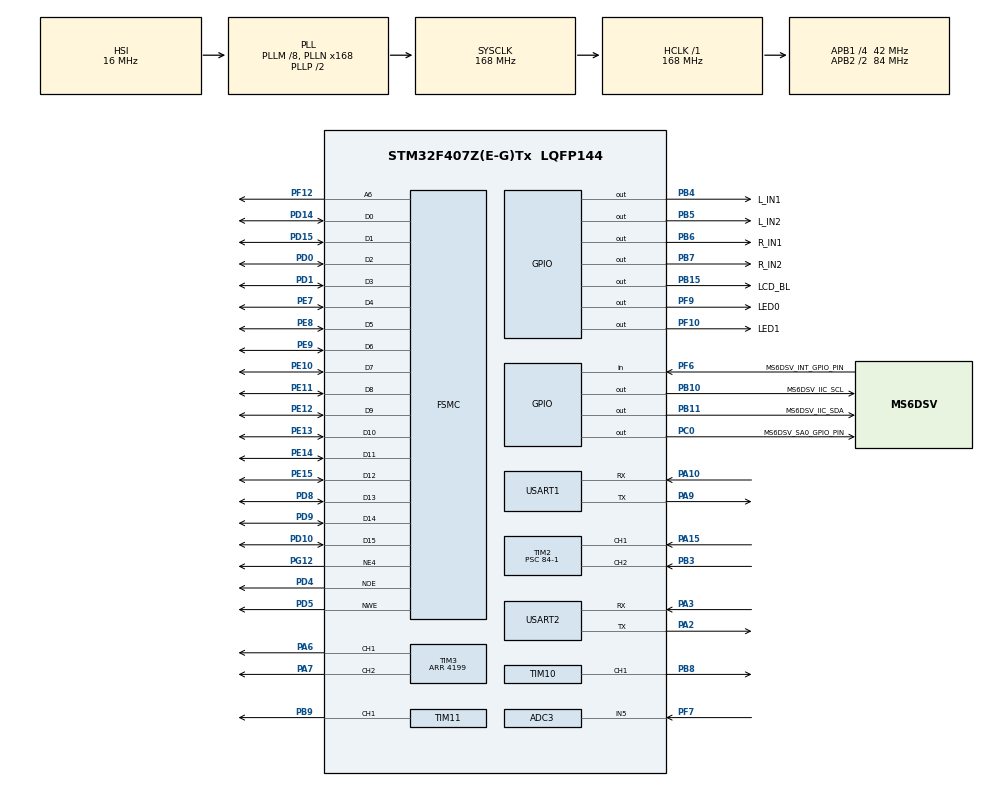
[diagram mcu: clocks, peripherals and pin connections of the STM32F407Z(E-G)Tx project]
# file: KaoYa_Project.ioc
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ADC3.Channel-0\#ChannelRegularConversion=ADC_CHANNEL_5
ADC3.DMAContinuousRequests=ENABLE
ADC3.ExternalTrigConv=ADC_EXTERNALTRIGCONV_T8_TRGO
ADC3.NbrOfConversionFlag=1
ADC3.Rank-0\#ChannelRegularConversion=1
ADC3.SamplingTime-0\#ChannelRegularConversion=ADC_SAMPLETIME_3CYCLES
Dma.ADC3.3.Direction=DMA_PERIPH_TO_MEMORY
Dma.ADC3.3.FIFOMode=DMA_FIFOMODE_DISABLE
Dma.ADC3.3.Instance=DMA2_Stream0
Dma.ADC3.3.MemDataAlignment=DMA_MDATAALIGN_HALFWORD
Dma.ADC3.3.MemInc=DMA_MINC_ENABLE
Dma.ADC3.3.Mode=DMA_CIRCULAR
Dma.ADC3.3.PeriphDataAlignment=DMA_PDATAALIGN_HALFWORD
Dma.ADC3.3.PeriphInc=DMA_PINC_DISABLE
Dma.ADC3.3.Priority=DMA_PRIORITY_LOW
Dma.Request0=USART1_RX
Dma.Request1=USART2_TX
Dma.Request2=USART1_TX
Dma.Request3=ADC3
Dma.USART1_RX.0.Direction=DMA_PERIPH_TO_MEMORY
Dma.USART1_RX.0.FIFOMode=DMA_FIFOMODE_DISABLE
Dma.USART1_RX.0.Instance=DMA2_Stream2
Dma.USART1_RX.0.MemDataAlignment=DMA_MDATAALIGN_BYTE
Dma.USART1_RX.0.MemInc=DMA_MINC_ENABLE
Dma.USART1_RX.0.Mode=DMA_CIRCULAR
Dma.USART1_RX.0.PeriphDataAlignment=DMA_PDATAALIGN_BYTE
Dma.USART1_RX.0.PeriphInc=DMA_PINC_DISABLE
Dma.USART1_RX.0.Priority=DMA_PRIORITY_LOW
Dma.USART1_TX.2.Direction=DMA_MEMORY_TO_PERIPH
Dma.USART1_TX.2.FIFOMode=DMA_FIFOMODE_DISABLE
Dma.USART1_TX.2.Instance=DMA2_Stream7
Dma.USART1_TX.2.MemDataAlignment=DMA_MDATAALIGN_BYTE
Dma.USART1_TX.2.MemInc=DMA_MINC_ENABLE
Dma.USART1_TX.2.Mode=DMA_NORMAL
Dma.USART1_TX.2.PeriphDataAlignment=DMA_PDATAALIGN_BYTE
Dma.USART1_TX.2.PeriphInc=DMA_PINC_DISABLE
Dma.USART1_TX.2.Priority=DMA_PRIORITY_LOW
Dma.USART2_TX.1.Direction=DMA_MEMORY_TO_PERIPH
Dma.USART2_TX.1.FIFOMode=DMA_FIFOMODE_DISABLE
Dma.USART2_TX.1.Instance=DMA1_Stream6
Dma.USART2_TX.1.MemDataAlignment=DMA_MDATAALIGN_BYTE
Dma.USART2_TX.1.MemInc=DMA_MINC_ENABLE
Dma.USART2_TX.1.Mode=DMA_NORMAL
Dma.USART2_TX.1.PeriphDataAlignment=DMA_PDATAALIGN_BYTE
Dma.USART2_TX.1.PeriphInc=DMA_PINC_DISABLE
Dma.USART2_TX.1.Priority=DMA_PRIORITY_LOW
FREERTOS.INCLUDE_pcTaskGetTaskName=1
FREERTOS.INCLUDE_uxTaskGetStackHighWaterMark2=1
FREERTOS.Tasks01=commTask,40,256,CommTask,Default,NULL,Dynamic,NULL,NULL;ledTask,8,128,LedTask,Default,NULL,Dynamic,NULL,NULL;controlTask,48,256,ControlTask,Default,NULL,Dynamic,NULL,NULL;logTask,16,512,LogTask,Default,NULL,Dynamic,NULL,NULL;lcdTask,24,256,LcdTask,Default,NULL,Dynamic,NULL,NULL;monitorTask,17,256,MonitorTask,Default,NULL,Dynamic,NULL,NULL;iwdgTask,44,128,IwdgTask,Default,NULL,Dynamic,NULL,NULL;uplinkTask,40,128,UplinkTask,Default,NULL,Dynamic,NULL,NULL;sensorTask,41,256,SensorTask,Default,NULL,Dynamic,NULL,NULL
FREERTOS.configCHECK_FOR_STACK_OVERFLOW=2
FREERTOS.configUSE_IDLE_HOOK=1
FREERTOS.configUSE_MALLOC_FAILED_HOOK=1
FREERTOS.configUSE_STATS_FORMATTING_FUNCTIONS=1
FREERTOS.configUSE_TICKLESS_IDLE=1
FREERTOS.configUSE_TICK_HOOK=1
FSMC.BusTurnAroundDuration1=0
FSMC.DataSetupTime1=60
FSMC.ExtendedAddressSetupTime1=9
FSMC.ExtendedBusTurnAroundDuration1=0
FSMC.ExtendedDataSetupTime1=9
FSMC.ExtendedMode1=FSMC_EXTENDED_MODE_ENABLE
IWDG.Prescaler=IWDG_PRESCALER_32
IWDG.Reload=1999
Mcu.Family=STM32F4
Mcu.Name=STM32F407Z(E-G)Tx
Mcu.Package=LQFP144
NVIC.ADC_IRQn=true\:5\:0\:false\:false\:true\:true\:true\:true\:true
NVIC.DMA1_Stream6_IRQn=true\:5\:0\:true\:false\:true\:true\:false\:true\:true
NVIC.DMA2_Stream0_IRQn=true\:5\:0\:false\:false\:true\:true\:false\:true\:true
NVIC.DMA2_Stream2_IRQn=true\:5\:0\:false\:false\:true\:true\:false\:true\:true
NVIC.DMA2_Stream7_IRQn=true\:5\:0\:false\:false\:true\:true\:false\:true\:true
NVIC.PriorityGroup=NVIC_PRIORITYGROUP_4
NVIC.TIM2_IRQn=true\:5\:0\:false\:false\:true\:true\:true\:true\:true
NVIC.TIM6_DAC_IRQn=true\:15\:0\:false\:false\:true\:false\:false\:true\:true
NVIC.TimeBase=TIM6_DAC_IRQn
NVIC.TimeBaseIP=TIM6
NVIC.USART1_IRQn=true\:5\:0\:false\:false\:true\:true\:true\:true\:true
NVIC.USART2_IRQn=true\:5\:0\:false\:false\:true\:true\:true\:true\:true
PA10.Mode=Asynchronous
PA10.Signal=USART1_RX
PA13.Mode=Serial_Wire
PA13.Signal=SYS_JTMS-SWDIO
PA14.Mode=Serial_Wire
PA14.Signal=SYS_JTCK-SWCLK
PA15.Signal=S_TIM2_CH1_ETR
PA2.Mode=Asynchronous
PA2.Signal=USART2_TX
PA3.Mode=Asynchronous
PA3.Signal=USART2_RX
PA6.Signal=S_TIM3_CH1
PA7.Signal=S_TIM3_CH2
PA9.Mode=Asynchronous
PA9.Signal=USART1_TX
PB10.GPIO_Label=MS6DSV_IIC_SCL
PB10.GPIO_PuPd=GPIO_PULLUP
PB10.GPIO_Speed=GPIO_SPEED_FREQ_HIGH
PB10.PinState=GPIO_PIN_RESET
PB10.Signal=GPIO_Output
PB11.GPIO_Label=MS6DSV_IIC_SDA
PB11.GPIO_ModeDefaultOutputPP=GPIO_MODE_OUTPUT_OD
PB11.GPIO_PuPd=GPIO_PULLUP
PB11.GPIO_Speed=GPIO_SPEED_FREQ_HIGH
PB11.Signal=GPIO_Output
PB15.GPIO_Label=LCD_BL
PB15.Signal=GPIO_Output
PB3.Signal=S_TIM2_CH2
PB4.GPIO_Label=L_IN1
PB4.Signal=GPIO_Output
PB5.GPIO_Label=L_IN2
PB5.Signal=GPIO_Output
PB6.GPIO_Label=R_IN1
PB6.Signal=GPIO_Output
PB7.GPIO_Label=R_IN2
PB7.Signal=GPIO_Output
PB8.Signal=S_TIM10_CH1
PB9.Signal=S_TIM11_CH1
PC0.GPIO_Label=MS6DSV_SA0_GPIO_PIN
PC0.GPIO_ModeDefaultOutputPP=GPIO_MODE_OUTPUT_PP
PC0.GPIO_PuPd=GPIO_PULLUP
PC0.GPIO_Speed=GPIO_SPEED_FREQ_HIGH
PC0.Signal=GPIO_Output
PC14-OSC32_IN.Mode=LSE-External-Oscillator
PC14-OSC32_IN.Signal=RCC_OSC32_IN
PC15-OSC32_OUT.Mode=LSE-External-Oscillator
PC15-OSC32_OUT.Signal=RCC_OSC32_OUT
PD0.Signal=FSMC_D2_DA2
PD1.Signal=FSMC_D3_DA3
PD10.Signal=FSMC_D15_DA15
PD14.Signal=FSMC_D0_DA0
PD15.Signal=FSMC_D1_DA1
PD4.Signal=FSMC_NOE
PD5.Signal=FSMC_NWE
PD8.Signal=FSMC_D13_DA13
PD9.Signal=FSMC_D14_DA14
PE10.Signal=FSMC_D7_DA7
PE11.Signal=FSMC_D8_DA8
PE12.Signal=FSMC_D9_DA9
PE13.Signal=FSMC_D10_DA10
PE14.Signal=FSMC_D11_DA11
PE15.Signal=FSMC_D12_DA12
PE7.Signal=FSMC_D4_DA4
PE8.Signal=FSMC_D5_DA5
PE9.Signal=FSMC_D6_DA6
PF10.GPIO_Label=LED1
PF10.Signal=GPIO_Output
PF12.Signal=FSMC_A6
PF6.GPIO_Label=MS6DSV_INT_GPIO_PIN
PF6.GPIO_PuPd=GPIO_PULLDOWN
PF6.Signal=GPIO_Input
PF7.Mode=IN5
PF7.Signal=ADC3_IN5
PF9.GPIO_Label=LED0
PF9.Signal=GPIO_Output
PG12.Mode=NorPsramChipSelect4_1
PG12.Signal=FSMC_NE4
PH0-OSC_IN.Mode=HSE-External-Oscillator
PH0-OSC_IN.Signal=RCC_OSC_IN
PH1-OSC_OUT.Mode=HSE-External-Oscillator
PH1-OSC_OUT.Signal=RCC_OSC_OUT
ProjectManager.HeapSize=0x200
ProjectManager.StackSize=0x400
ProjectManager.TargetToolchain=MDK-ARM V5
RCC.48MHZClocksFreq_Value=84000000
RCC.AHBFreq_Value=168000000
RCC.APB1CLKDivider=RCC_HCLK_DIV4
RCC.APB1Freq_Value=42000000
RCC.APB1TimFreq_Value=84000000
RCC.APB2CLKDivider=RCC_HCLK_DIV2
RCC.APB2Freq_Value=84000000
RCC.APB2TimFreq_Value=168000000
RCC.CortexFreq_Value=168000000
RCC.HCLKFreq_Value=168000000
RCC.HSE_VALUE=25000000
RCC.HSI_VALUE=16000000
RCC.PLLM=8
RCC.PLLN=168
RCC.SYSCLKFreq_VALUE=168000000
RCC.SYSCLKSource=RCC_SYSCLKSOURCE_PLLCLK
RCC.VCOOutputFreq_Value=336000000
SH.FSMC_A6.0=FSMC_A6,A6_1
SH.FSMC_D0_DA0.0=FSMC_D0,16b-d1
SH.FSMC_D10_DA10.0=FSMC_D10,16b-d1
SH.FSMC_D11_DA11.0=FSMC_D11,16b-d1
SH.FSMC_D12_DA12.0=FSMC_D12,16b-d1
SH.FSMC_D13_DA13.0=FSMC_D13,16b-d1
SH.FSMC_D14_DA14.0=FSMC_D14,16b-d1
SH.FSMC_D15_DA15.0=FSMC_D15,16b-d1
SH.FSMC_D1_DA1.0=FSMC_D1,16b-d1
SH.FSMC_D2_DA2.0=FSMC_D2,16b-d1
SH.FSMC_D3_DA3.0=FSMC_D3,16b-d1
SH.FSMC_D4_DA4.0=FSMC_D4,16b-d1
SH.FSMC_D5_DA5.0=FSMC_D5,16b-d1
SH.FSMC_D6_DA6.0=FSMC_D6,16b-d1
SH.FSMC_D7_DA7.0=FSMC_D7,16b-d1
SH.FSMC_D8_DA8.0=FSMC_D8,16b-d1
SH.FSMC_D9_DA9.0=FSMC_D9,16b-d1
SH.FSMC_NOE.0=FSMC_NOE,Lcd1
SH.FSMC_NWE.0=FSMC_NWE,Lcd1
SH.S_TIM10_CH1.0=TIM10_CH1,PWM Generation1 CH1
SH.S_TIM11_CH1.0=TIM11_CH1,PWM Generation1 CH1
SH.S_TIM2_CH1_ETR.0=TIM2_CH1,Input_Capture1_from_TI1
SH.S_TIM2_CH2.0=TIM2_CH2,Input_Capture2_from_TI2
SH.S_TIM3_CH1.0=TIM3_CH1,PWM Generation1 CH1
SH.S_TIM3_CH2.0=TIM3_CH2,PWM Generation2 CH2
TIM10.AutoReloadPreload=TIM_AUTORELOAD_PRELOAD_ENABLE
TIM10.Channel=TIM_CHANNEL_1
TIM10.Period=1000-1
TIM10.Prescaler=1680-1
TIM11.AutoReloadPreload=TIM_AUTORELOAD_PRELOAD_ENABLE
TIM11.Channel=TIM_CHANNEL_1
TIM11.Period=1000-1
TIM11.Prescaler=1680-1
TIM2.AutoReloadPreload=TIM_AUTORELOAD_PRELOAD_DISABLE
TIM2.Channel-Input_Capture1_from_TI1=TIM_CHANNEL_1
TIM2.Channel-Input_Capture2_from_TI2=TIM_CHANNEL_2
TIM2.ICFilter_CH1=4
TIM2.ICFilter_CH2=4
TIM2.ICPrescaler-Input_Capture1_from_TI1=TIM_ICPSC_DIV1
TIM2.ICPrescaler-Input_Capture2_from_TI2=TIM_ICPSC_DIV1
TIM2.Prescaler=84-1
TIM3.AutoReloadPreload=TIM_AUTORELOAD_PRELOAD_ENABLE
TIM3.Channel-PWM\ Generation1\ CH1=TIM_CHANNEL_1
TIM3.Channel-PWM\ Generation2\ CH2=TIM_CHANNEL_2
TIM3.Period=4199
TIM8.Period=2000-1
TIM8.Prescaler=8400-1
TIM8.TIM_MasterOutputTrigger=TIM_TRGO_UPDATE
USART1.VirtualMode=VM_ASYNC
USART2.VirtualMode=VM_ASYNC
VP_FREERTOS_VS_CMSIS_V2.Mode=CMSIS_V2
VP_IWDG_VS_IWDG.Mode=IWDG_Activate
VP_SYS_VS_tim6.Mode=TIM6
VP_TIM10_VS_ClockSourceINT.Mode=Enable_Timer
VP_TIM11_VS_ClockSourceINT.Mode=Enable_Timer
VP_TIM2_VS_ClockSourceINT.Mode=Internal
VP_TIM8_VS_ClockSourceINT.Mode=Internal
board=custom

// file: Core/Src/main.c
/* USER CODE BEGIN Header */
/**
  ******************************************************************************
  * @file           : main.c
  * @brief          : Main program body
  ******************************************************************************
  * @attention
  *
  * Copyright (c) 2026 STMicroelectronics.
  * All rights reserved.
  *
  * This software is licensed under terms that can be found in the LICENSE file
  * in the root directory of this software component.
  * If no LICENSE file comes with this software, it is provided AS-IS.
  *
  ******************************************************************************
  */
/* USER CODE END Header */
#include "main.h"
#include "cmsis_os.h"
#include "adc.h"
#include "dma.h"
#include "iwdg.h"
#include "tim.h"
#include "usart.h"
#include "gpio.h"
#include "fsmc.h"

void SystemClock_Config(void);
void MX_FREERTOS_Init(void);

int main(void)
{

  /* MCU Configuration--------------------------------------------------------*/

  /* Reset of all peripherals, Initializes the Flash interface and the Systick. */
  HAL_Init();

  /* Configure the system clock */
  SystemClock_Config();

  /* Initialize all configured peripherals */
  MX_GPIO_Init();
  MX_DMA_Init();
  MX_USART1_UART_Init();
  MX_USART2_UART_Init();
  MX_TIM3_Init();
  MX_FSMC_Init();
  MX_IWDG_Init();
  MX_ADC3_Init();
  MX_TIM2_Init();
  MX_TIM8_Init();
  MX_TIM10_Init();
  MX_TIM11_Init();

  /* Init scheduler */
  osKernelInitialize();

  /* Call init function for freertos objects (in freertos.c) */
  MX_FREERTOS_Init();

  /* Start scheduler */
  osKernelStart();

  /* We should never get here as control is now taken by the scheduler */
  /* Infinite loop */
  while (1)
  {

  }
}

void SystemClock_Config(void)
{
  RCC_OscInitTypeDef RCC_OscInitStruct = {0};
  RCC_ClkInitTypeDef RCC_ClkInitStruct = {0};

  /** Configure the main internal regulator output voltage
  */
  __HAL_RCC_PWR_CLK_ENABLE();
  __HAL_PWR_VOLTAGESCALING_CONFIG(PWR_REGULATOR_VOLTAGE_SCALE1);

  /** Initializes the RCC Oscillators according to the specified parameters
  * in the RCC_OscInitTypeDef structure.
  */
  RCC_OscInitStruct.OscillatorType = RCC_OSCILLATORTYPE_HSI|RCC_OSCILLATORTYPE_LSI;
  RCC_OscInitStruct.HSIState = RCC_HSI_ON;
  RCC_OscInitStruct.HSICalibrationValue = RCC_HSICALIBRATION_DEFAULT;
  RCC_OscInitStruct.LSIState = RCC_LSI_ON;
  RCC_OscInitStruct.PLL.PLLState = RCC_PLL_ON;
  RCC_OscInitStruct.PLL.PLLSource = RCC_PLLSOURCE_HSI;
  RCC_OscInitStruct.PLL.PLLM = 8;
  RCC_OscInitStruct.PLL.PLLN = 168;
  RCC_OscInitStruct.PLL.PLLP = RCC_PLLP_DIV2;
  RCC_OscInitStruct.PLL.PLLQ = 4;
  if (HAL_RCC_OscConfig(&RCC_OscInitStruct) != HAL_OK)
  {
    Error_Handler();
  }

  /** Initializes the CPU, AHB and APB buses clocks
  */
  RCC_ClkInitStruct.ClockType = RCC_CLOCKTYPE_HCLK|RCC_CLOCKTYPE_SYSCLK
                              |RCC_CLOCKTYPE_PCLK1|RCC_CLOCKTYPE_PCLK2;
  RCC_ClkInitStruct.SYSCLKSource = RCC_SYSCLKSOURCE_PLLCLK;
  RCC_ClkInitStruct.AHBCLKDivider = RCC_SYSCLK_DIV1;
  RCC_ClkInitStruct.APB1CLKDivider = RCC_HCLK_DIV4;
  RCC_ClkInitStruct.APB2CLKDivider = RCC_HCLK_DIV2;

  if (HAL_RCC_ClockConfig(&RCC_ClkInitStruct, FLASH_LATENCY_5) != HAL_OK)
  {
    Error_Handler();
  }
}

void HAL_TIM_PeriodElapsedCallback(TIM_HandleTypeDef *htim)
{
  if (htim->Instance == TIM6) {
    HAL_IncTick();
  }
}

void Error_Handler(void)
{
  __disable_irq();
  while (1)
  {
  }
}

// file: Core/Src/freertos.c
/* USER CODE BEGIN Header */
/**
  ******************************************************************************
  * File Name          : freertos.c
  * Author             : Kaoya (烤鸭)
  * Version            : V1.0
  * Date               : 2026-02-04
  * Description        : Code for freertos applications
  ******************************************************************************
  * @details
  *  本文件基于 CubeMX 生成的 CMSIS-OS2 FreeRTOS 模板，承载“系统级装配”职责：
  *   1) 创建各业务任务（osThreadNew）
  *   2) 绑定项目任务入口到 KaoYaApp_*（统一入口、便于分层/单测/复用）
  *   3) 注册 Monitor 监控信息（任务句柄、栈大小、别名）
  *   4) 初始化 IWDG 看门狗监控对象（喂狗任务列表）
  *   5) 提供 FreeRTOS Hook：
  *      - vApplicationTickHook：Tick 计数/轻量统计（ISR 上下文）
  *      - vApplicationIdleHook：空闲钩子（可用于低功耗/空闲率统计等）
  *      - vApplicationStackOverflowHook：栈溢出回调 -> Monitor_OnStackOverflow()
  *      - vApplicationMallocFailedHook：堆分配失败回调 -> Monitor_OnMallocFailed()
  *   6) Tickless Idle 支持：
  *      - PreSleepProcessing/PostSleepProcessing：睡眠前后对 HAL Tick 进行挂起/恢复
  *
  *  任务关系概览（本工程）：
  *   - CommTask    : 串口 DMA/IDLE 接收 + 协议解析 + 下发命令
  *   - ControlTask : 运动学/闭环控制（PID）-> Motor 执行
  *   - SensorTask  : 传感器采集（电压/编码器/IMU 等）
  *   - UplinkTask  : 状态上报（电压/温度/姿态/速度等）
  *   - LogTask     : 异步日志输出（避免业务任务刷屏阻塞）
  *   - LcdTask     : 屏幕 UI 刷新
  *   - MonitorTask : 系统健康监控（栈水位、堆余量、任务心跳等）
  *   - IwdgTask    : 独立看门狗喂狗/复位保障（配合任务心跳）
  *   - LedTask     : 指示灯状态机（心跳/告警等）
* @attention
  *
  * Copyright (c) 2026 STMicroelectronics.
  * All rights reserved.
  *
  * This software is licensed under terms that can be found in the LICENSE file
  * in the root directory of this software component.
  * If no LICENSE file comes with this software, it is provided AS-IS.
  *
  ******************************************************************************
  */
/* USER CODE END Header */

#include "FreeRTOS.h"
#include "task.h"
#include "main.h"
#include "cmsis_os.h"

/* USER CODE BEGIN Includes */
#include "app_init.h"
#include "comm_task.h"
#include "led_task.h"
#include "control_task.h"
#include "log_task.h"
#include "lcd_task.h"
#include "monitor_task.h"
#include "iwdg_task.h"
#include "uplink_task.h"
#include "sensor_task.h"
/* USER CODE END Includes */

/* USER CODE BEGIN Variables */
uint32_t systick_cnt = 0;
/* USER CODE END Variables */
/* Definitions for commTask */
osThreadId_t commTaskHandle;
const osThreadAttr_t commTask_attributes = {
  .name = "commTask",
  .stack_size = 256 * 4,
  .priority = (osPriority_t) osPriorityHigh,
};
/* Definitions for ledTask */
osThreadId_t ledTaskHandle;
const osThreadAttr_t ledTask_attributes = {
  .name = "ledTask",
  .stack_size = 128 * 4,
  .priority = (osPriority_t) osPriorityLow,
};
/* Definitions for controlTask */
osThreadId_t controlTaskHandle;
const osThreadAttr_t controlTask_attributes = {
  .name = "controlTask",
  .stack_size = 256 * 4,
  .priority = (osPriority_t) osPriorityRealtime,
};
/* Definitions for logTask */
osThreadId_t logTaskHandle;
const osThreadAttr_t logTask_attributes = {
  .name = "logTask",
  .stack_size = 512 * 4,
  .priority = (osPriority_t) osPriorityBelowNormal,
};
/* Definitions for lcdTask */
osThreadId_t lcdTaskHandle;
const osThreadAttr_t lcdTask_attributes = {
  .name = "lcdTask",
  .stack_size = 256 * 4,
  .priority = (osPriority_t) osPriorityNormal,
};
/* Definitions for monitorTask */
osThreadId_t monitorTaskHandle;
const osThreadAttr_t monitorTask_attributes = {
  .name = "monitorTask",
  .stack_size = 256 * 4,
  .priority = (osPriority_t) osPriorityBelowNormal1,
};
/* Definitions for iwdgTask */
osThreadId_t iwdgTaskHandle;
const osThreadAttr_t iwdgTask_attributes = {
  .name = "iwdgTask",
  .stack_size = 128 * 4,
  .priority = (osPriority_t) osPriorityHigh4,
};
/* Definitions for uplinkTask */
osThreadId_t uplinkTaskHandle;
const osThreadAttr_t uplinkTask_attributes = {
  .name = "uplinkTask",
  .stack_size = 128 * 4,
  .priority = (osPriority_t) osPriorityHigh,
};
/* Definitions for sensorTask */
osThreadId_t sensorTaskHandle;
const osThreadAttr_t sensorTask_attributes = {
  .name = "sensorTask",
  .stack_size = 256 * 4,
  .priority = (osPriority_t) osPriorityHigh1,
};

void CommTask(void *argument);
void LedTask(void *argument);
void ControlTask(void *argument);
void LogTask(void *argument);
void LcdTask(void *argument);
void MonitorTask(void *argument);
void IwdgTask(void *argument);
void UplinkTask(void *argument);
void SensorTask(void *argument);

void MX_FREERTOS_Init(void); /* (MISRA C 2004 rule 8.1) */

/* Hook prototypes */
void vApplicationIdleHook(void);
void vApplicationTickHook(void);
void vApplicationStackOverflowHook(xTaskHandle xTask, signed char *pcTaskName);
void vApplicationMallocFailedHook(void);

/* USER CODE BEGIN 2 */
void vApplicationIdleHook( void )
{
   /* vApplicationIdleHook() will only be called if configUSE_IDLE_HOOK is set
   to 1 in FreeRTOSConfig.h. It will be called on each iteration of the idle
   task. It is essential that code added to this hook function never attempts
   to block in any way (for example, call xQueueReceive() with a block time
   specified, or call vTaskDelay()). If the application makes use of the
   vTaskDelete() API function (as this demo application does) then it is also
   important that vApplicationIdleHook() is permitted to return to its calling
   function, because it is the responsibility of the idle task to clean up
   memory allocated by the kernel to any task that has since been deleted. */
}
/* USER CODE END 2 */

/* USER CODE BEGIN 3 */
void vApplicationTickHook( void )
{
	systick_cnt++;
   /* This function will be called by each tick interrupt if
   configUSE_TICK_HOOK is set to 1 in FreeRTOSConfig.h. User code can be
   added here, but the tick hook is called from an interrupt context, so
   code must not attempt to block, and only the interrupt safe FreeRTOS API
   functions can be used (those that end in FromISR()). */
}
/* USER CODE END 3 */

/* USER CODE BEGIN 4 */
void vApplicationStackOverflowHook(xTaskHandle xTask, signed char *pcTaskName)
{
	Monitor_OnStackOverflow(xTask, pcTaskName);
   /* Run time stack overflow checking is performed if
   configCHECK_FOR_STACK_OVERFLOW is defined to 1 or 2. This hook function is
   called if a stack overflow is detected. */
}
/* USER CODE END 4 */

/* USER CODE BEGIN 5 */
void vApplicationMallocFailedHook(void)
{
	Monitor_OnMallocFailed();
   /* vApplicationMallocFailedHook() will only be called if
   configUSE_MALLOC_FAILED_HOOK is set to 1 in FreeRTOSConfig.h. It is a hook
   function that will get called if a call to pvPortMalloc() fails.
   pvPortMalloc() is called internally by the kernel whenever a task, queue,
   timer or semaphore is created. It is also called by various parts of the
   demo application. If heap_1.c or heap_2.c are used, then the size of the
   heap available to pvPortMalloc() is defined by configTOTAL_HEAP_SIZE in
   FreeRTOSConfig.h, and the xPortGetFreeHeapSize() API function can be used
   to query the size of free heap space that remains (although it does not
   provide information on how the remaining heap might be fragmented). */
}
/* USER CODE END 5 */

/* USER CODE BEGIN PREPOSTSLEEP */
__weak void PreSleepProcessing(uint32_t ulExpectedIdleTime)
{
/* place for user code */
	HAL_SuspendTick();
}

__weak void PostSleepProcessing(uint32_t ulExpectedIdleTime)
{
/* place for user code */
	HAL_ResumeTick();
}
/* USER CODE END PREPOSTSLEEP */

void MX_FREERTOS_Init(void) {
  /* USER CODE BEGIN Init */
	KaoYaApp_Init();
  /* USER CODE END Init */

  /* Create the thread(s) */
  /* creation of commTask */
  commTaskHandle = osThreadNew(CommTask, NULL, &commTask_attributes);

  /* creation of ledTask */
  ledTaskHandle = osThreadNew(LedTask, NULL, &ledTask_attributes);

  /* creation of controlTask */
  controlTaskHandle = osThreadNew(ControlTask, NULL, &controlTask_attributes);

  /* creation of logTask */
  logTaskHandle = osThreadNew(LogTask, NULL, &logTask_attributes);

  /* creation of lcdTask */
  lcdTaskHandle = osThreadNew(LcdTask, NULL, &lcdTask_attributes);

  /* creation of monitorTask */
  monitorTaskHandle = osThreadNew(MonitorTask, NULL, &monitorTask_attributes);

  /* creation of iwdgTask */
  iwdgTaskHandle = osThreadNew(IwdgTask, NULL, &iwdgTask_attributes);

  /* creation of uplinkTask */
  uplinkTaskHandle = osThreadNew(UplinkTask, NULL, &uplinkTask_attributes);

  /* creation of sensorTask */
  sensorTaskHandle = osThreadNew(SensorTask, NULL, &sensorTask_attributes);

  /* USER CODE BEGIN RTOS_THREADS */
	MonTaskInfo_t mon_list[9];

	mon_list[0].h = (TaskHandle_t)commTaskHandle;
	mon_list[0].stack_words = (uint16_t)(commTask_attributes.stack_size / sizeof(StackType_t));
	mon_list[0].alias = "COMM";

	mon_list[1].h = (TaskHandle_t)controlTaskHandle;
	mon_list[1].stack_words = (uint16_t)(controlTask_attributes.stack_size / sizeof(StackType_t));
	mon_list[1].alias = "CTRL";

	mon_list[2].h = (TaskHandle_t)ledTaskHandle;
	mon_list[2].stack_words = (uint16_t)(ledTask_attributes.stack_size / sizeof(StackType_t));
	mon_list[2].alias = "LED";

	mon_list[3].h = (TaskHandle_t)lcdTaskHandle;
	mon_list[3].stack_words = (uint16_t)(lcdTask_attributes.stack_size / sizeof(StackType_t));
	mon_list[3].alias = "LCD";

	mon_list[4].h = (TaskHandle_t)logTaskHandle;
	mon_list[4].stack_words = (uint16_t)(logTask_attributes.stack_size / sizeof(StackType_t));
	mon_list[4].alias = "LOG";

	mon_list[5].h = (TaskHandle_t)monitorTaskHandle;
	mon_list[5].stack_words = (uint16_t)(monitorTask_attributes.stack_size / sizeof(StackType_t));
	mon_list[5].alias = "MON";

	mon_list[6].h = (TaskHandle_t)iwdgTaskHandle;
	mon_list[6].stack_words = (uint16_t)(iwdgTask_attributes.stack_size / sizeof(StackType_t));
	mon_list[6].alias = "IWDG";

	mon_list[7].h = (TaskHandle_t)uplinkTaskHandle;
	mon_list[7].stack_words = (uint16_t)(uplinkTask_attributes.stack_size / sizeof(StackType_t));
	mon_list[7].alias = "UPLINK";

	mon_list[8].h = (TaskHandle_t)sensorTaskHandle;
	mon_list[8].stack_words = (uint16_t)(sensorTask_attributes.stack_size / sizeof(StackType_t));
	mon_list[8].alias = "SENSOR";

	Monitor_RegisterTaskInfo(mon_list, 9);

	IWDG_TaskInit(commTaskHandle, controlTaskHandle, NULL, NULL, sensorTaskHandle);

  /* add threads, ... */
  /* USER CODE END RTOS_THREADS */

}

void CommTask(void *argument)
{
  /* USER CODE BEGIN CommTask */
  /* Infinite loop */
	KaoYaApp_CommTask(argument);
  /* USER CODE END CommTask */
}

void LedTask(void *argument)
{
  /* USER CODE BEGIN LedTask */
  KaoYaApp_LedTask(argument);
  /* USER CODE END LedTask */
}

void ControlTask(void *argument)
{
  /* USER CODE BEGIN ControlTask */
  /* Infinite loop */
	KaoYaApp_ControlTask(argument);
  /* USER CODE END ControlTask */
}

void LogTask(void *argument)
{
  /* USER CODE BEGIN LogTask */
  /* Infinite loop */
	KaoYaApp_LogTask(argument);
  /* USER CODE END LogTask */
}

void LcdTask(void *argument)
{
  /* USER CODE BEGIN LcdTask */
  /* Infinite loop */
	KaoYaApp_LcdTask(argument);
  /* USER CODE END LcdTask */
}

void MonitorTask(void *argument)
{
  /* USER CODE BEGIN MonitorTask */
  /* Infinite loop */
	KaoYaApp_MonitorTask(argument);
  /* USER CODE END MonitorTask */
}

void IwdgTask(void *argument)
{
  /* USER CODE BEGIN IwdgTask */
  /* Infinite loop */
	KaoYaApp_IwdgTask(argument);
  /* USER CODE END IwdgTask */
}

void UplinkTask(void *argument)
{
  /* USER CODE BEGIN UplinkTask */
  /* Infinite loop */
  KaoYaApp_UplinkTask(argument);
  /* USER CODE END UplinkTask */
}

void SensorTask(void *argument)
{
  /* USER CODE BEGIN SensorTask */
  /* Infinite loop */
  KaoYaApp_SensorTask(argument);
  /* USER CODE END SensorTask */
}
